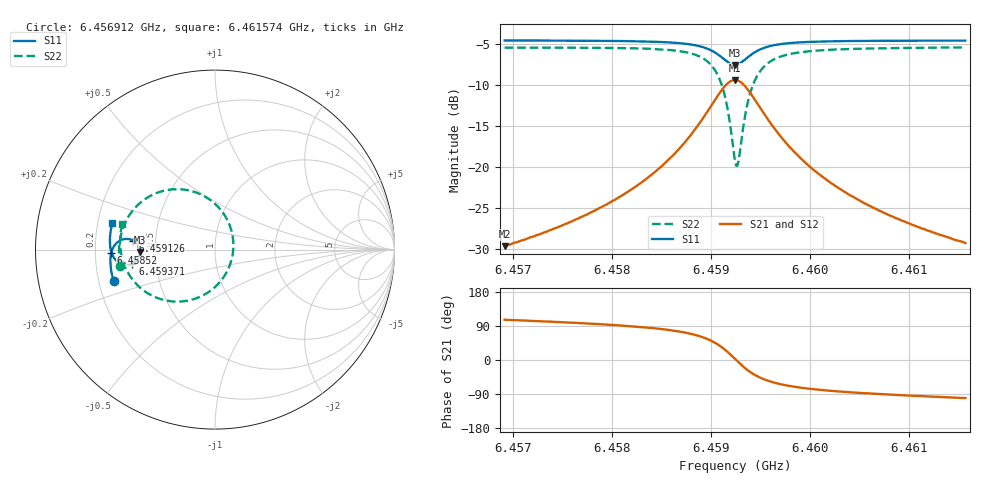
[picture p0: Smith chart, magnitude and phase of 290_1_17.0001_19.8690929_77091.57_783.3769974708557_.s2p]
#  HZ  S  RI  R  50.00
! Rohde & Schwarz Vector Network Analyzer
! Rohde-Schwarz,ZNB20-2Port,1311601062101988,3.16
! Created: UTC 3/20/2024, 11:05:03 PM
! freq[Hz]  re:S11  im:S11  re:S21  im:S21  re:S12  im:S12  re:S22  im:S22
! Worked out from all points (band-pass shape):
!   401 points, 6.456912 GHz to 6.461574 GHz, reference 50 ohm
!   highest |S21| = -9.36 dB at 6.459243 GHz (marker M1); lowest = -29.6 dB at 6.456912 GHz (marker M2)
!   |S21| within 3 dB of the highest: 6.45901 GHz to 6.459476 GHz (465.7 kHz wide, 0.00721 % of centre)
!   lowest |S11| = -7.5 dB at 6.459243 GHz (marker M3), VSWR 2.45, Z = 20.4 - j0.628 ohm
!   |S11| at or under -10 dB: nowhere
!   |S22| runs from -19.8 to -5.4 dB; largest |S21 - S12| = 0.013
!   S11 on the Smith chart (normalised r, x): 6.456912 GHz: 0.26, -0.14; 6.45852 GHz: 0.27, -0.02; 6.459126 GHz: 0.37, +0.05; 6.459371 GHz: 0.37, -0.07; 6.461574 GHz: 0.26, +0.12
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6.4569123e9  -0.5649 -0.1777  -0.00933 0.0317  -0.00757 0.0319  -0.5277 -0.0911
6.457693e9  -0.5797 -0.1098  -0.00623 0.0495  -0.00365 0.0489  -0.5345 -0.00127
6.4581242e9  -0.5831 -0.0668  -0.000446 0.0687  0.00275 0.0676  -0.5276 0.0658
6.4584738e9  -0.5796 -0.0253  0.013 0.0973  0.0168 0.0948  -0.5035 0.1432
6.4585205e9  -0.5783 -0.019  0.0162 0.1028  0.0202 0.0998  -0.4974 0.1563
6.4587302e9  -0.5663 0.0131  0.0417 0.1342  0.0459 0.1296  -0.4503 0.2275
6.4588817e9  -0.5454 0.0393  0.0834 0.1644  0.087 0.158  -0.3735 0.2917
6.4590332e9  -0.4997 0.0592  0.1742 0.1839  0.1752 0.1765  -0.209 0.3366
6.4591265e9  -0.4555 0.0493  0.2629 0.154  0.2634 0.148  -0.0451 0.2891
6.4591731e9  -0.4345 0.0309  0.3063 0.112  0.3076 0.1066  0.0368 0.2152
6.459243e9  -0.4197 -0.0127  0.3399 0.0167  0.3433 0.00977  0.1022 0.0395
6.4592546e9  -0.4201 -0.0206  0.3398 -0.000596  0.3434 -0.00835  0.102 0.00663
6.459278e9  -0.4235 -0.0361  0.3347 -0.035  0.3382 -0.0439  0.0919 -0.0578
6.4593246e9  -0.4388 -0.0618  0.3068 -0.0942  0.3089 -0.1057  0.0367 -0.169
6.4593712e9  -0.4606 -0.078  0.2657 -0.1347  0.2648 -0.1477  -0.0458 -0.243
6.4594644e9  -0.5036 -0.0847  0.1826 -0.1663  0.1767 -0.1774  -0.2105 -0.2899
6.4596159e9  -0.5469 -0.0643  0.0959 -0.1533  0.0878 -0.1594  -0.3749 -0.2432
6.4597791e9  -0.5683 -0.0368  0.0516 -0.1263  0.0442 -0.1291  -0.4546 -0.1733
6.4600238e9  -0.5811 -0.00132  0.0227 -0.0955  0.017 -0.0961  -0.5024 -0.0926
6.4603734e9  -0.5856 0.0399  0.00659 -0.0692  0.00263 -0.0688  -0.5243 -0.0146
6.4608046e9  -0.5838 0.083  -0.00117 -0.0509  -0.00386 -0.0502  -0.5288 0.0531
6.4615737e9  -0.5714 0.151  -0.00627 -0.034  -0.0079 -0.0331  -0.5179 0.1426
